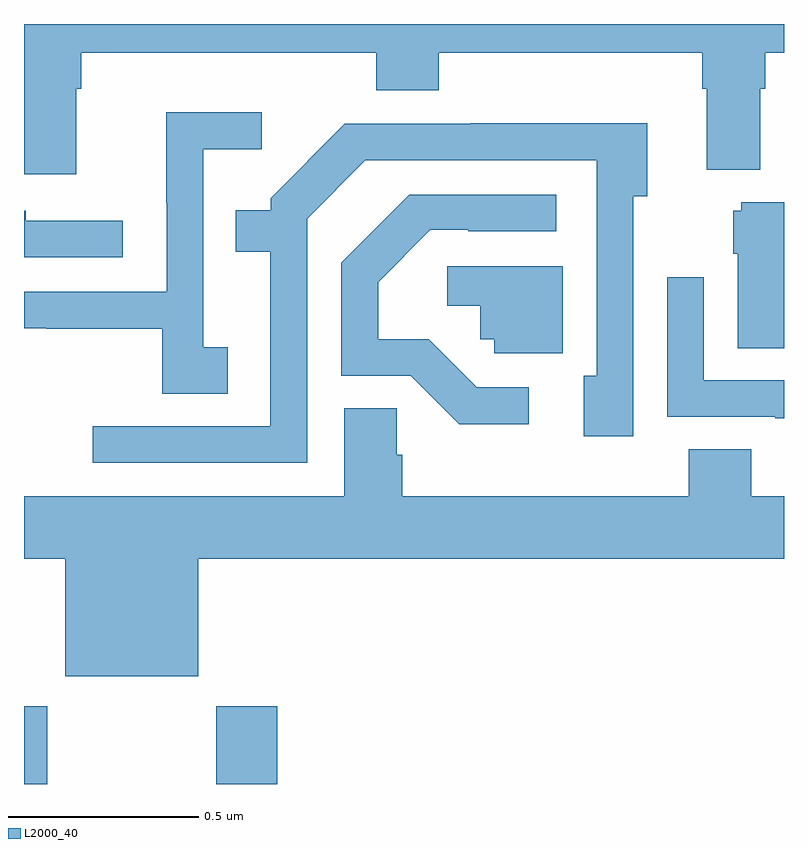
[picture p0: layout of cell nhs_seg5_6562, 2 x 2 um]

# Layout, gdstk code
import gdstk
lib = gdstk.Library(unit=1e-6, precision=1e-09)
def R(c, l, rs):  # rectangles x0, y0, x1, y1
    for r in rs: c.add(gdstk.rectangle(r[:2], r[2:], *l))
def P(c, l, *ps):  # polygons
    for p in ps: c.add(gdstk.Polygon(p, *l))
L2000_40 = (2000, 40)

nhs_seg5_6562 = lib.new_cell('nhs_seg5_6562')
R(nhs_seg5_6562, L2000_40, [(197,890.799,197.061,891.004), (197.506,890.799,197.666,891.004)])
P(nhs_seg5_6562, L2000_40, [(197.137,892.628),(197.15,892.628),(197.15,892.724),(197.927,892.724),(197.927,892.625),(198.092,892.625),(198.092,892.724),(198.785,892.724),(198.785,892.628),(198.797,892.628),(198.797,892.415),(198.937,892.415),(198.937,892.628),(198.95,892.628),(198.95,892.724),(199,892.724),(199,892.799),(197,892.799),(197,892.404),(197.137,892.404)],
  [(197.536,891.948),(197.472,891.948),(197.472,892.469),(197.626,892.469),(197.626,892.567),(197.374,892.567),(197.374,892.328),(197.376,892.328),(197.376,892.095),(197,892.095),(197,891.999),(197.059,891.999),(197.059,891.997),(197.364,891.997),(197.364,891.826),(197.536,891.826)],
  [(197.745,892.287),(197.898,892.44),(198.507,892.44),(198.507,891.874),(198.473,891.874),(198.473,891.714),(198.603,891.714),(198.603,892.346),(198.64,892.346),(198.64,892.538),(198.175,892.538),(198.175,892.536),(197.844,892.536),(197.649,892.341),(197.649,892.309),(197.557,892.309),(197.557,892.2),(197.648,892.2),(197.648,891.741),(197.181,891.741),(197.181,891.645),(197.745,891.645)],
  [(198.328,891.843),(198.192,891.843),(198.065,891.97),(197.932,891.97),(197.932,892.12),(198.069,892.257),(198.169,892.257),(198.169,892.254),(198.4,892.254),(198.4,892.35),(198.014,892.35),(197.835,892.171),(197.835,891.873),(198.018,891.873),(198.146,891.746),(198.328,891.746)],
  [(199,892.33),(198.888,892.33),(198.888,892.308),(198.866,892.308),(198.866,892.194),(198.878,892.194),(198.878,891.946),(199,891.946)],
  [(197.26,892.281),(197.004,892.281),(197.004,892.308),(197,892.308),(197,892.185),(197.26,892.185)],
  [(198.418,892.161),(198.114,892.161),(198.114,892.058),(198.201,892.058),(198.201,891.969),(198.237,891.969),(198.237,891.933),(198.418,891.933)],
  [(199,891.861),(198.789,891.861),(198.789,892.132),(198.693,892.132),(198.693,891.765),(198.977,891.765),(198.977,891.761),(199,891.761)],
  [(197.458,891.392),(199,891.392),(199,891.556),(198.914,891.556),(198.914,891.68),(198.749,891.68),(198.749,891.556),(197.996,891.556),(197.996,891.666),(197.981,891.666),(197.981,891.788),(197.843,891.788),(197.843,891.556),(197,891.556),(197,891.392),(197.108,891.392),(197.108,891.083),(197.458,891.083)])

lib.write_gds('nhs_seg5_6562.gds')
